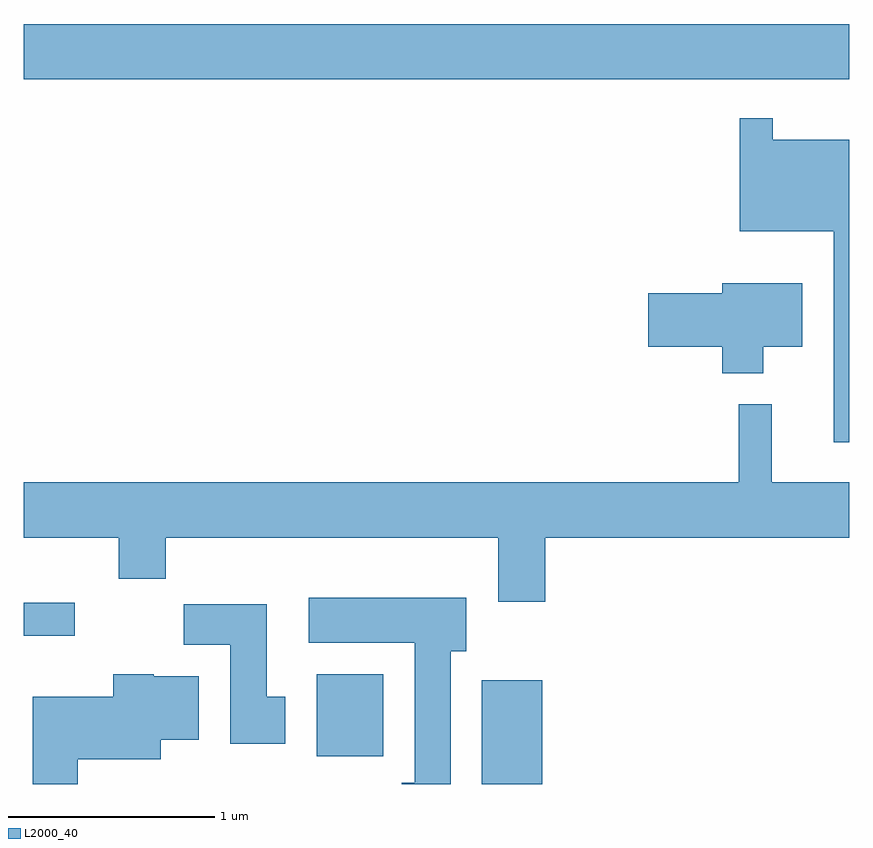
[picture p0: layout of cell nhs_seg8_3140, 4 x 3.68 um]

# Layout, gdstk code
import gdstk
lib = gdstk.Library(unit=1e-6, precision=1e-09)
def R(c, l, rs):  # rectangles x0, y0, x1, y1
    for r in rs: c.add(gdstk.rectangle(r[:2], r[2:], *l))
def P(c, l, *ps):  # polygons
    for p in ps: c.add(gdstk.Polygon(p, *l))
L2000_40 = (2000, 40)

nhs_seg8_3140 = lib.new_cell('nhs_seg8_3140')
R(nhs_seg8_3140, L2000_40, [(281.831,1826.342,282.124,1826.844), (281.031,1826.476,281.354,1826.874), (279.611,1827.061,279.858,1827.219), (279.611,1829.756,283.611,1830.024)])
P(nhs_seg8_3140, L2000_40, [(283.611,1829.464),(283.239,1829.464),(283.239,1829.568),(283.081,1829.568),(283.081,1829.021),(283.536,1829.021),(283.536,1827.998),(283.611,1827.998)],
  [(283.194,1828.461),(283.384,1828.461),(283.384,1828.769),(282.996,1828.769),(282.996,1828.719),(282.636,1828.719),(282.636,1828.461),(282.996,1828.461),(282.996,1828.331),(283.194,1828.331)],
  [(282.139,1827.536),(283.611,1827.536),(283.611,1827.804),(283.234,1827.804),(283.234,1828.183),(283.076,1828.183),(283.076,1827.804),(279.611,1827.804),(279.611,1827.536),(280.071,1827.536),(280.071,1827.336),(280.299,1827.336),(280.299,1827.536),(281.911,1827.536),(281.911,1827.226),(282.139,1827.226)],
  [(281.679,1826.986),(281.754,1826.986),(281.754,1827.244),(280.991,1827.244),(280.991,1827.026),(281.506,1827.026),(281.506,1826.349),(281.443,1826.349),(281.443,1826.342),(281.679,1826.342)],
  [(280.879,1826.764),(280.789,1826.764),(280.789,1827.214),(280.386,1827.214),(280.386,1827.016),(280.611,1827.016),(280.611,1826.536),(280.879,1826.536)],
  [(279.874,1826.461),(280.274,1826.461),(280.274,1826.556),(280.459,1826.556),(280.459,1826.864),(280.24,1826.864),(280.24,1826.874),(280.046,1826.874),(280.046,1826.764),(279.656,1826.764),(279.656,1826.342),(279.874,1826.342)])

lib.write_gds('nhs_seg8_3140.gds')
